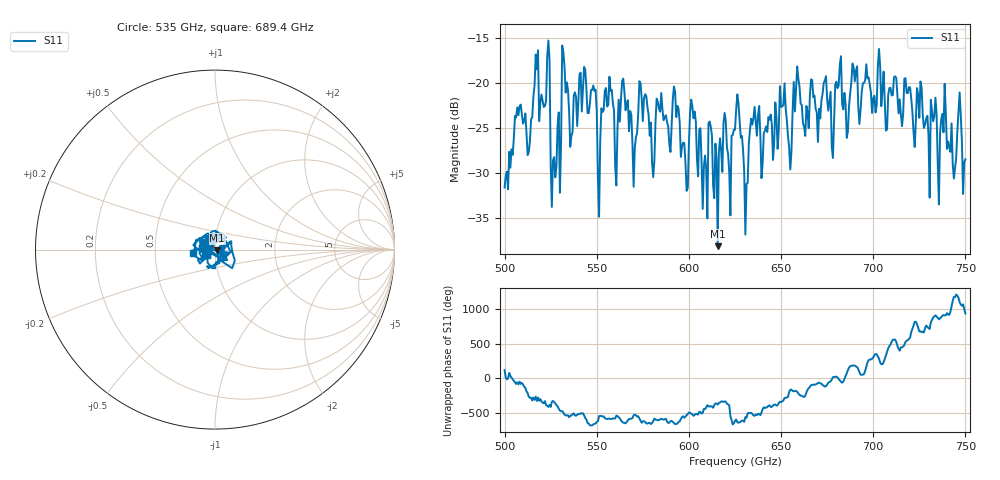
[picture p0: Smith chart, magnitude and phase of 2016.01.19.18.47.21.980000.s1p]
!Created with skrf (http://scikit-rf.org).
# GHz S RI R 50.0
!freq ReS11 ImS11
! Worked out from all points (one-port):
!   401 points, 500 GHz to 750 GHz, reference 50 ohm
!   lowest |S11| = -38.1 dB at 615.6 GHz (marker M1), VSWR 1.03, Z = 51.2 - j0.318 ohm
!   |S11| at or under -10 dB: start of sweep to end of sweep
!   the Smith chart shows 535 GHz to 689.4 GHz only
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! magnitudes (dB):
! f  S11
! 500 GHz  -31.6
! 507.5 GHz  -23.6
! 513.8 GHz  -26.4
! 516.9 GHz  -16.8
! 523.1 GHz  -17.0
! 526.2 GHz  -28.6
! 531.2 GHz  -15.8
! 548.1 GHz  -20.3
! 551.9 GHz  -26.5
! 555.6 GHz  -22.6
! 562.5 GHz  -24.3
! 570.6 GHz  -27.2
! 576.9 GHz  -21.4
! 580 GHz  -28.8
! 593.8 GHz  -22.5
! 598.1 GHz  -28.9
! 601.9 GHz  -22.6
! 608.8 GHz  -28.1
! 615.6 GHz  -38.1
! 625 GHz  -25.2
! 630.6 GHz  -36.8
! 635 GHz  -23.9
! 656.2 GHz  -23.2
! 687.5 GHz  -21.1
! 718.8 GHz  -21.1
! 744.4 GHz  -29.4
! 746.9 GHz  -21.0
! 750 GHz  -28.5
